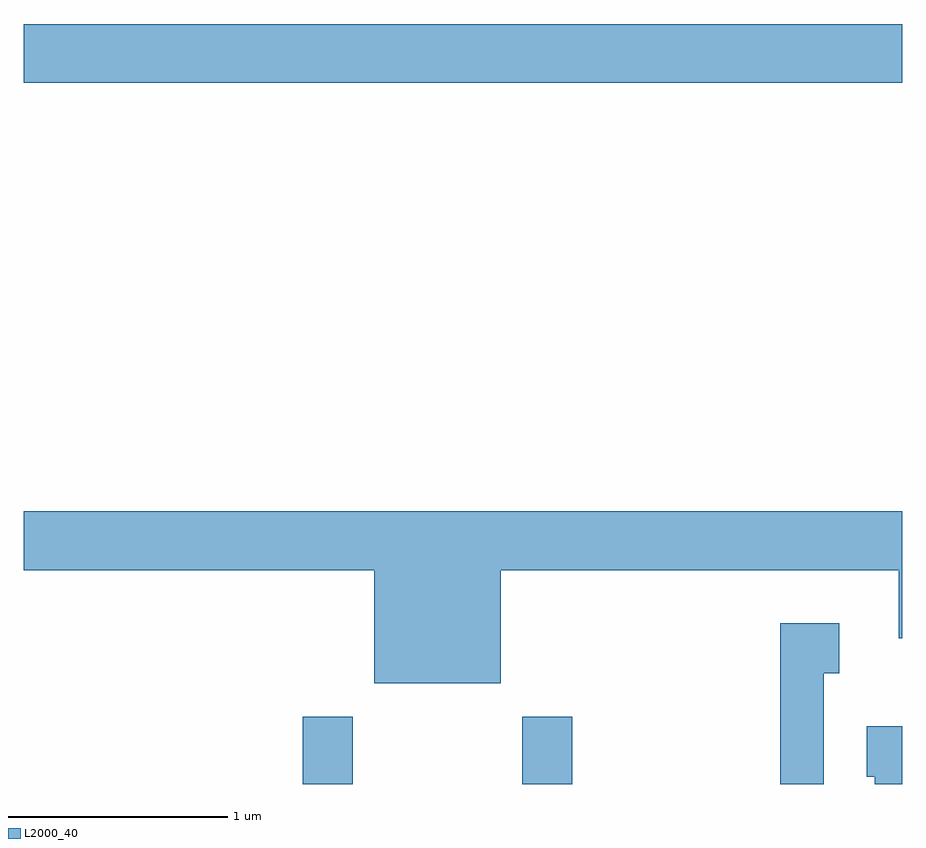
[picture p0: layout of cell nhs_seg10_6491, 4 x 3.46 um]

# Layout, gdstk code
import gdstk
lib = gdstk.Library(unit=1e-6, precision=1e-09)
def R(c, l, rs):  # rectangles x0, y0, x1, y1
    for r in rs: c.add(gdstk.rectangle(r[:2], r[2:], *l))
def P(c, l, *ps):  # polygons
    for p in ps: c.add(gdstk.Polygon(p, *l))
L2000_40 = (2000, 40)

nhs_seg10_6491 = lib.new_cell('nhs_seg10_6491')
R(nhs_seg10_6491, L2000_40, [(378.881,2088.522,379.109,2088.829), (379.881,2088.522,380.109,2088.829), (377.611,2091.716,381.611,2091.984)])
P(nhs_seg10_6491, L2000_40, [(379.784,2089.496),(381.596,2089.496),(381.596,2089.186),(381.611,2089.186),(381.611,2089.764),(377.611,2089.764),(377.611,2089.496),(379.206,2089.496),(379.206,2088.981),(379.784,2088.981)],
  [(381.254,2089.026),(381.324,2089.026),(381.324,2089.254),(381.056,2089.254),(381.056,2088.522),(381.254,2088.522)],
  [(381.611,2088.784),(381.451,2088.784),(381.451,2088.556),(381.486,2088.556),(381.486,2088.522),(381.611,2088.522)])

lib.write_gds('nhs_seg10_6491.gds')
